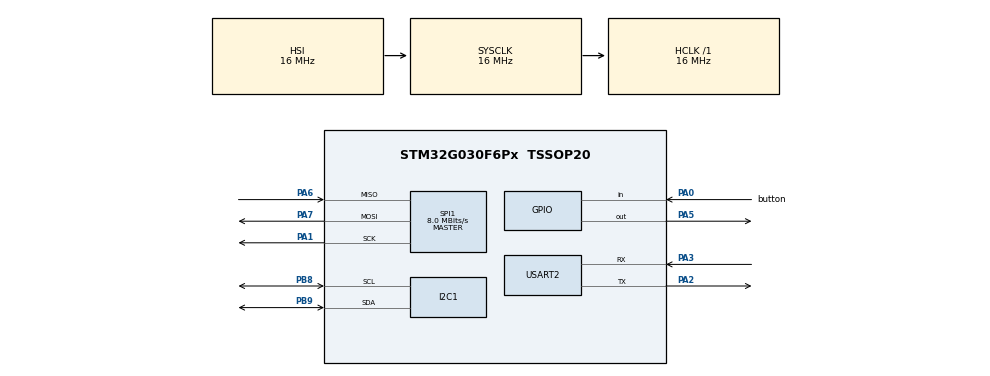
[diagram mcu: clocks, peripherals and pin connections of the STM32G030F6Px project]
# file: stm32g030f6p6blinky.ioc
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Mcu.Family=STM32G0
Mcu.Name=STM32G030F6Px
Mcu.Package=TSSOP20
PA0.GPIO_Label=button
PA0.Signal=GPIO_Input
PA1.Mode=Full_Duplex_Master
PA1.Signal=SPI1_SCK
PA13.Mode=Serial_Wire
PA13.Signal=SYS_SWDIO
PA14-BOOT0.Mode=Serial_Wire
PA14-BOOT0.Signal=SYS_SWCLK
PA14-BOOT0__PA15.StandardMode=true
PA2.Mode=Asynchronous
PA2.Signal=USART2_TX
PA3.Mode=Asynchronous
PA3.Signal=USART2_RX
PA5.Signal=GPIO_Output
PA6.Mode=Full_Duplex_Master
PA6.Signal=SPI1_MISO
PA7.Mode=Full_Duplex_Master
PA7.Signal=SPI1_MOSI
PB0__PB1__PB2__PA8.StandardMode=true
PB3__PB4__PB5__PB6.StandardMode=true
PB7__PB8.StandardMode=true
PB8.Mode=I2C
PB8.Signal=I2C1_SCL
PB9.Mode=I2C
PB9.Signal=I2C1_SDA
PC14-OSC32_IN\ (PC14)__PB9.StandardMode=true
ProjectManager.HeapSize=0x200
ProjectManager.StackSize=0x400
ProjectManager.TargetToolchain=STM32CubeIDE
RCC.AHBFreq_Value=16000000
RCC.CortexFreq_Value=16000000
RCC.EXTERNAL_CLOCK_VALUE=12288000
RCC.HCLKFreq_Value=16000000
RCC.HSE_VALUE=8000000
RCC.HSI_VALUE=16000000
RCC.SYSCLKFreq_VALUE=16000000
RCC.VCOOutputFreq_Value=128000000
SPI1.CalculateBaudRate=8.0 MBits/s
SPI1.Direction=SPI_DIRECTION_2LINES
SPI1.Mode=SPI_MODE_MASTER
SPI1.VirtualType=VM_MASTER
USART2.VirtualMode-Asynchronous=VM_ASYNC
board=custom

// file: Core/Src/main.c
/* USER CODE BEGIN Header */
/**
  ******************************************************************************
  * @file           : main.c
  * @brief          : Main program body
  ******************************************************************************
  * @attention
  *
  * Copyright (c) 2023 STMicroelectronics.
  * All rights reserved.
  *
  * This software is licensed under terms that can be found in the LICENSE file
  * in the root directory of this software component.
  * If no LICENSE file comes with this software, it is provided AS-IS.
  *
  ******************************************************************************
  */
/* USER CODE END Header */
#include "main.h"

I2C_HandleTypeDef hi2c1;

SPI_HandleTypeDef hspi1;

UART_HandleTypeDef huart2;

/* USER CODE BEGIN PV */
float voltage;
/* USER CODE END PV */

void SystemClock_Config(void);
static void MX_GPIO_Init(void);
static void MX_I2C1_Init(void);
static void MX_SPI1_Init(void);
static void MX_USART2_UART_Init(void);
/* USER CODE BEGIN PFP */
//void Read_I2C(void);
float Read_ADS1115(void);
/* USER CODE END PFP */

int main(void)
{

  /* MCU Configuration--------------------------------------------------------*/

  /* Reset of all peripherals, Initializes the Flash interface and the Systick. */
  HAL_Init();

  /* Configure the system clock */
  SystemClock_Config();

  /* Initialize all configured peripherals */
  MX_GPIO_Init();
  MX_I2C1_Init();
  MX_SPI1_Init();
  MX_USART2_UART_Init();

  /* Infinite loop */
  while (1)
  {

    /* USER CODE BEGIN 3 */
	  voltage=Read_ADS1115();
	  	HAL_Delay(100);
  }
  /* USER CODE END 3 */
}

void SystemClock_Config(void)
{
  RCC_OscInitTypeDef RCC_OscInitStruct = {0};
  RCC_ClkInitTypeDef RCC_ClkInitStruct = {0};

  /** Configure the main internal regulator output voltage
  */
  HAL_PWREx_ControlVoltageScaling(PWR_REGULATOR_VOLTAGE_SCALE1);

  /** Initializes the RCC Oscillators according to the specified parameters
  * in the RCC_OscInitTypeDef structure.
  */
  RCC_OscInitStruct.OscillatorType = RCC_OSCILLATORTYPE_HSI;
  RCC_OscInitStruct.HSIState = RCC_HSI_ON;
  RCC_OscInitStruct.HSIDiv = RCC_HSI_DIV1;
  RCC_OscInitStruct.HSICalibrationValue = RCC_HSICALIBRATION_DEFAULT;
  RCC_OscInitStruct.PLL.PLLState = RCC_PLL_NONE;
  if (HAL_RCC_OscConfig(&RCC_OscInitStruct) != HAL_OK)
  {
    Error_Handler();
  }

  /** Initializes the CPU, AHB and APB buses clocks
  */
  RCC_ClkInitStruct.ClockType = RCC_CLOCKTYPE_HCLK|RCC_CLOCKTYPE_SYSCLK
                              |RCC_CLOCKTYPE_PCLK1;
  RCC_ClkInitStruct.SYSCLKSource = RCC_SYSCLKSOURCE_HSI;
  RCC_ClkInitStruct.AHBCLKDivider = RCC_SYSCLK_DIV1;
  RCC_ClkInitStruct.APB1CLKDivider = RCC_HCLK_DIV1;

  if (HAL_RCC_ClockConfig(&RCC_ClkInitStruct, FLASH_LATENCY_0) != HAL_OK)
  {
    Error_Handler();
  }
}

static void MX_I2C1_Init(void)
{

  hi2c1.Instance = I2C1;
  hi2c1.Init.Timing = 0x00303D5B;
  hi2c1.Init.OwnAddress1 = 0;
  hi2c1.Init.AddressingMode = I2C_ADDRESSINGMODE_7BIT;
  hi2c1.Init.DualAddressMode = I2C_DUALADDRESS_DISABLE;
  hi2c1.Init.OwnAddress2 = 0;
  hi2c1.Init.OwnAddress2Masks = I2C_OA2_NOMASK;
  hi2c1.Init.GeneralCallMode = I2C_GENERALCALL_DISABLE;
  hi2c1.Init.NoStretchMode = I2C_NOSTRETCH_DISABLE;
  if (HAL_I2C_Init(&hi2c1) != HAL_OK)
  {
    Error_Handler();
  }

  /** Configure Analogue filter
  */
  if (HAL_I2CEx_ConfigAnalogFilter(&hi2c1, I2C_ANALOGFILTER_ENABLE) != HAL_OK)
  {
    Error_Handler();
  }

  /** Configure Digital filter
  */
  if (HAL_I2CEx_ConfigDigitalFilter(&hi2c1, 0) != HAL_OK)
  {
    Error_Handler();
  }

}

static void MX_SPI1_Init(void)
{

  /* SPI1 parameter configuration*/
  hspi1.Instance = SPI1;
  hspi1.Init.Mode = SPI_MODE_MASTER;
  hspi1.Init.Direction = SPI_DIRECTION_2LINES;
  hspi1.Init.DataSize = SPI_DATASIZE_8BIT;
  hspi1.Init.CLKPolarity = SPI_POLARITY_LOW;
  hspi1.Init.CLKPhase = SPI_PHASE_1EDGE;
  hspi1.Init.NSS = SPI_NSS_SOFT;
  hspi1.Init.BaudRatePrescaler = SPI_BAUDRATEPRESCALER_2;
  hspi1.Init.FirstBit = SPI_FIRSTBIT_MSB;
  hspi1.Init.TIMode = SPI_TIMODE_DISABLE;
  hspi1.Init.CRCCalculation = SPI_CRCCALCULATION_DISABLE;
  hspi1.Init.CRCPolynomial = 7;
  hspi1.Init.CRCLength = SPI_CRC_LENGTH_DATASIZE;
  hspi1.Init.NSSPMode = SPI_NSS_PULSE_ENABLE;
  if (HAL_SPI_Init(&hspi1) != HAL_OK)
  {
    Error_Handler();
  }

}

static void MX_USART2_UART_Init(void)
{

  huart2.Instance = USART2;
  huart2.Init.BaudRate = 115200;
  huart2.Init.WordLength = UART_WORDLENGTH_8B;
  huart2.Init.StopBits = UART_STOPBITS_1;
  huart2.Init.Parity = UART_PARITY_NONE;
  huart2.Init.Mode = UART_MODE_TX_RX;
  huart2.Init.HwFlowCtl = UART_HWCONTROL_NONE;
  huart2.Init.OverSampling = UART_OVERSAMPLING_16;
  huart2.Init.OneBitSampling = UART_ONE_BIT_SAMPLE_DISABLE;
  huart2.Init.ClockPrescaler = UART_PRESCALER_DIV1;
  huart2.AdvancedInit.AdvFeatureInit = UART_ADVFEATURE_NO_INIT;
  if (HAL_UART_Init(&huart2) != HAL_OK)
  {
    Error_Handler();
  }

}

static void MX_GPIO_Init(void)
{
  GPIO_InitTypeDef GPIO_InitStruct = {0};

  /* GPIO Ports Clock Enable */
  __HAL_RCC_GPIOB_CLK_ENABLE();
  __HAL_RCC_GPIOA_CLK_ENABLE();

  /*Configure GPIO pin Output Level */
  HAL_GPIO_WritePin(GPIOA, GPIO_PIN_5, GPIO_PIN_RESET);

  /*Configure GPIO pin : button_Pin */
  GPIO_InitStruct.Pin = button_Pin;
  GPIO_InitStruct.Mode = GPIO_MODE_INPUT;
  GPIO_InitStruct.Pull = GPIO_NOPULL;
  HAL_GPIO_Init(button_GPIO_Port, &GPIO_InitStruct);

  /*Configure GPIO pin : PA5 */
  GPIO_InitStruct.Pin = GPIO_PIN_5;
  GPIO_InitStruct.Mode = GPIO_MODE_OUTPUT_PP;
  GPIO_InitStruct.Pull = GPIO_NOPULL;
  GPIO_InitStruct.Speed = GPIO_SPEED_FREQ_LOW;
  HAL_GPIO_Init(GPIOA, &GPIO_InitStruct);

}

/* USER CODE BEGIN 4 */
float Read_ADS1115(void)
{
unsigned char buffer[3];
unsigned char i2c_addr=0x90;
unsigned short data=0;

buffer[0]=0x01;//adress bilgisinden sonraki ilk byte  config reg. bişiler yazıcaz demek

buffer[1]=0xC0;//p0,p1 adresleri 15-8 sayfa 28 de yazıyor datasheet config Reg tablosu
//001 olunca 4,096 aralığında okuma yapıyordu. 000 olunca ise input 6,144V olabiliyor. bundan dolayo c2 degil c0 yaptım.
buffer[2]=0x85;//p0,p1 adresleri 0-7 ilk 3 bit örnekleme hizini bildiyor 128 SPS alıcaz max 111 degeri 860 SPS olabilir.
// kalan degerleri default olarak kullandım.
HAL_I2C_Master_Transmit(&hi2c1, i2c_addr+0, (uint8_t*)buffer, 3, 100);

buffer[0]=0x00;//conversion registerina yazarak elimizdeki degerleri almak istediğimizi belirtiyoruz.,
//bu deger 0-15 2 bytelık bir veri olacak.
HAL_I2C_Master_Transmit(&hi2c1, i2c_addr+0, (uint8_t*)buffer, 1, 100);
HAL_I2C_Master_Receive(&hi2c1, i2c_addr+1, buffer, 2, 100);
data=(buffer[0]<<8)+buffer[1];
if(data==0xFFFF)data=0;
//bizim registerımız toplamda 2 byte yani 16 bitlik yani max degeri 65536.
//bu durumda bizim okuyacagımız AN0 bacagından +-6144(yani 6144*2=12288).
//toplma 12288/65535=0,1875
return (float)(0.1875*(float)data); //sonuc mV olarak döner.
}
void Read_I2C(void)
{
unsigned char TX_buffer[1];
unsigned char RX_buffer[1];
unsigned char i2c_addr=0x90;

TX_buffer[0]=0x55;
HAL_I2C_Master_Transmit(&hi2c1, i2c_addr+0, (uint8_t*)TX_buffer, 1, 100);
HAL_I2C_Master_Receive(&hi2c1, i2c_addr+1, RX_buffer, 1, 100);
HAL_Delay(1);
}
/* USER CODE END 4 */

void Error_Handler(void)
{
  __disable_irq();
  while (1)
  {
  }
}
